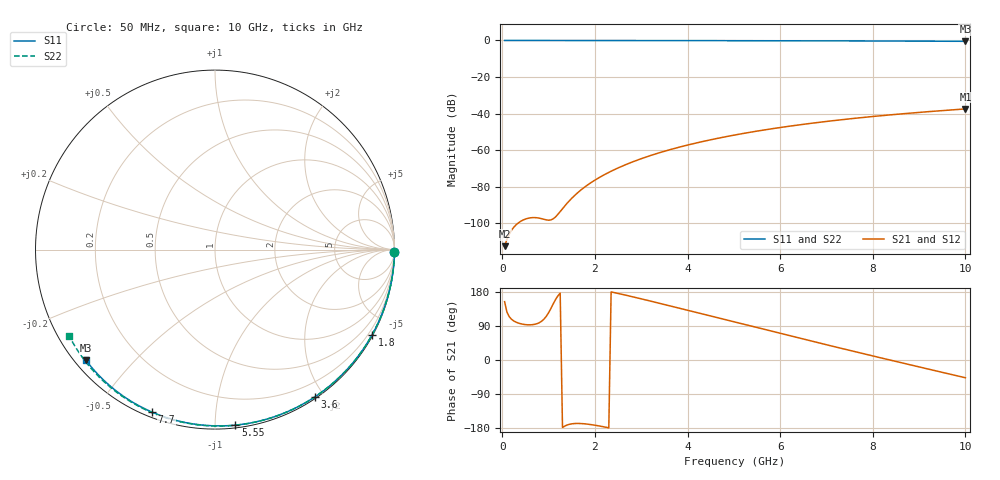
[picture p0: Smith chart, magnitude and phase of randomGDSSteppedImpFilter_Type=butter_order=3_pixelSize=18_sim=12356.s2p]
! freq	dB(S11)	phase(S11)	dB(S12)	phase(S12)
!  dB(S21)	phase(S21)	dB(S22)	phase(S22)
!S-par simulation data
#  GHz  S  DB  R 50
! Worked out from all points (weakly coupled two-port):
!   200 points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, 50 MHz to 10 GHz, reference 50 ohm
!   highest |S21| = -37.45 dB at 10 GHz (marker M1); lowest = -112.5 dB at 50 MHz (marker M2)
!   lowest |S11| = -0.5 dB at 10 GHz (marker M3), VSWR 36.78, Z = 1.55 - j18.5 ohm
!   |S11| at or under -10 dB: nowhere
!   |S22| runs from -0.5 to 0.0 dB; largest |S21 - S12| = 0
!   S11 on the Smith chart (normalised r, x): 50 MHz: open; 1.8 GHz: 0.03, -3.92; 3.6 GHz: 0.02, -1.88; 5.55 GHz: 0.02, -1.12; 7.7 GHz: 0.02, -0.68; 10 GHz: 0.03, -0.37
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0.05  -0.00 -0.8  -112.50 153.9  -112.50 153.9  -0.00 -0.9
0.45  -0.01 -7.3  -98.19 94.3  -98.19 94.3  -0.01 -7.8
0.9  -0.02 -14.5  -97.81 107.8  -97.81 107.8  -0.02 -15.5
1.3  -0.03 -20.8  -92.00 -178.1  -92.00 -178.1  -0.03 -22.3
1.75  -0.04 -27.9  -80.74 -168.1  -80.74 -168.1  -0.04 -29.9
1.8  -0.04 -28.7  -79.79 -168.7  -79.79 -168.7  -0.04 -30.8
1.95  -0.04 -31.0  -77.18 -171.1  -77.18 -171.1  -0.04 -33.3
2.1  -0.04 -33.3  -74.88 -174.2  -74.88 -174.2  -0.05 -35.7
2.3  -0.05 -36.4  -72.14 -179.0  -72.14 -179.0  -0.05 -39.1
2.5  -0.05 -39.5  -69.72 175.7  -69.72 175.7  -0.05 -42.3
2.9  -0.06 -45.5  -65.58 164.4  -65.58 164.4  -0.06 -48.8
3.4  -0.07 -53.0  -61.35 149.5  -61.35 149.5  -0.08 -56.8
3.6  -0.08 -55.9  -59.87 143.4  -59.87 143.4  -0.08 -59.9
4.3  -0.09 -66.1  -55.42 122.1  -55.42 122.1  -0.10 -70.7
5.05  -0.12 -76.6  -51.56 99.1  -51.56 99.1  -0.13 -81.9
5.55  -0.14 -83.4  -49.37 83.9  -49.37 83.9  -0.15 -89.2
6.1  -0.16 -90.7  -47.25 67.3  -47.25 67.3  -0.17 -97.0
6.7  -0.19 -98.5  -45.21 49.2  -45.21 49.2  -0.21 -105.4
7.7  -0.25 -111.2  -42.34 19.5  -42.34 19.5  -0.27 -119.0
8.35  -0.31 -119.3  -40.76 0.5  -40.76 0.5  -0.33 -127.6
9.2  -0.38 -129.6  -38.94 -24.0  -38.94 -24.0  -0.41 -138.9
10  -0.47 -139.3  -37.45 -46.9  -37.45 -46.9  -0.50 -149.5
